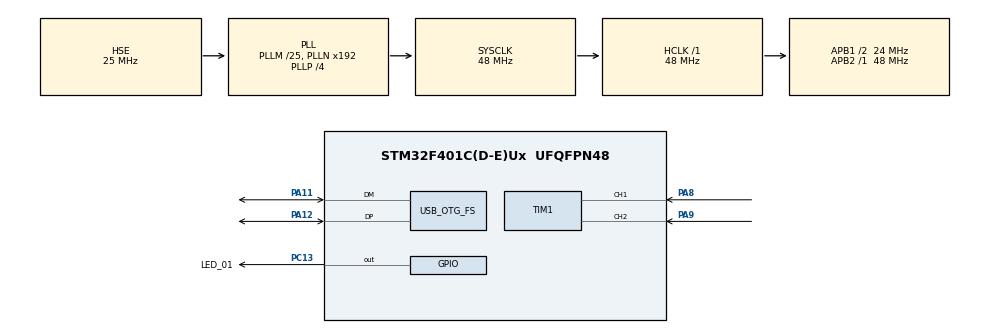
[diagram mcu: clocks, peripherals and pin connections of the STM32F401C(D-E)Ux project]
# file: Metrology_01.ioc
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Mcu.Family=STM32F4
Mcu.Name=STM32F401C(D-E)Ux
Mcu.Package=UFQFPN48
NVIC.OTG_FS_IRQn=true\:0\:0\:false\:false\:true\:false\:true
NVIC.PriorityGroup=NVIC_PRIORITYGROUP_4
PA11.Mode=Device_Only
PA11.Signal=USB_OTG_FS_DM
PA12.Mode=Device_Only
PA12.Signal=USB_OTG_FS_DP
PA13.Mode=Serial_Wire
PA13.Signal=SYS_JTMS-SWDIO
PA14.Mode=Serial_Wire
PA14.Signal=SYS_JTCK-SWCLK
PA8.Signal=S_TIM1_CH1
PA9.Signal=S_TIM1_CH2
PC13-ANTI_TAMP.GPIO_Label=LED_01
PC13-ANTI_TAMP.Signal=GPIO_Output
PH0\ -\ OSC_IN.Mode=HSE-External-Oscillator
PH0\ -\ OSC_IN.Signal=RCC_OSC_IN
PH1\ -\ OSC_OUT.Mode=HSE-External-Oscillator
PH1\ -\ OSC_OUT.Signal=RCC_OSC_OUT
ProjectManager.HeapSize=0x200
ProjectManager.StackSize=0x400
ProjectManager.TargetToolchain=MDK-ARM V5.27
RCC.48MHZClocksFreq_Value=48000000
RCC.AHBFreq_Value=48000000
RCC.APB1CLKDivider=RCC_HCLK_DIV2
RCC.APB1Freq_Value=24000000
RCC.APB1TimFreq_Value=48000000
RCC.APB2Freq_Value=48000000
RCC.APB2TimFreq_Value=48000000
RCC.CortexFreq_Value=48000000
RCC.HCLKFreq_Value=48000000
RCC.HSE_VALUE=25000000
RCC.HSI_VALUE=16000000
RCC.LSE_VALUE=32768
RCC.PLLM=25
RCC.PLLP=RCC_PLLP_DIV4
RCC.SYSCLKFreq_VALUE=48000000
RCC.SYSCLKSource=RCC_SYSCLKSOURCE_PLLCLK
RCC.VCOOutputFreq_Value=192000000
SH.S_TIM1_CH1.0=TIM1_CH1,Encoder_Interface
SH.S_TIM1_CH2.0=TIM1_CH2,Encoder_Interface
TIM1.AutoReloadPreload=TIM_AUTORELOAD_PRELOAD_ENABLE
USB_DEVICE.CLASS_NAME_FS=CUSTOM_HID
USB_DEVICE.USBD_CUSTOMHID_OUTREPORT_BUF_SIZE-CUSTOM_HID_FS=2
USB_DEVICE.USBD_CUSTOM_HID_REPORT_DESC_SIZE-CUSTOM_HID_FS=108
USB_DEVICE.VirtualMode-CUSTOM_HID_FS=CustomHid
USB_DEVICE.VirtualModeFS=Custom_Hid_FS
USB_OTG_FS.VirtualMode=Device_Only
VP_USB_DEVICE_VS_USB_DEVICE_CUSTOM_HID_FS.Mode=CUSTOM_HID_FS
board=custom

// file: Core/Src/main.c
/* USER CODE BEGIN Header */
/**
  ******************************************************************************
  * @file           : main.c
  * @brief          : Main program body
  ******************************************************************************
  * @attention
  *
  * <h2><center>&copy; Copyright (c) 2021 STMicroelectronics.
  * All rights reserved.</center></h2>
  *
  * This software component is licensed by ST under Ultimate Liberty license
  * SLA0044, the "License"; You may not use this file except in compliance with
  * the License. You may obtain a copy of the License at:
  *                             www.st.com/SLA0044
  *
  ******************************************************************************
  */
/* USER CODE END Header */
#include "main.h"
#include "usb_device.h"

/* USER CODE BEGIN Includes */
#include "usbd_customhid.h"
/* USER CODE END Includes */

TIM_HandleTypeDef htim1;

/* USER CODE BEGIN PV */
uint8_t dataToSend[5] =  {7, 'S', 'n', 'd', '_'};
uint8_t dataToSend1[5] =  {5, 'S', 'n', 'd', '_'};
uint8_t dataToSend2[5] =  {6, 1, 2, 4, 8};
uint32_t cnt = 0;
extern uint8_t send_data;
/* USER CODE END PV */

void SystemClock_Config(void);
static void MX_GPIO_Init(void);
static void MX_TIM1_Init(void);
/* USER CODE BEGIN PFP */
extern USBD_HandleTypeDef hUsbDeviceFS;
/* USER CODE END PFP */

int main(void)
{

  /* MCU Configuration--------------------------------------------------------*/

  /* Reset of all peripherals, Initializes the Flash interface and the Systick. */
  HAL_Init();

  /* Configure the system clock */
  SystemClock_Config();

  /* Initialize all configured peripherals */
  MX_GPIO_Init();
  MX_USB_DEVICE_Init();
  MX_TIM1_Init();

  /* Infinite loop */
  /* USER CODE BEGIN WHILE */
  while (1)
  {
		if(send_data == 0){
			send_data = 0;
		cnt += 1111;
		dataToSend1[1] = (cnt & 0x01);
		//dataToSend1[4] = cnt;
		//HAL_Delay(100);
		//USBD_CUSTOM_HID_SendReport(&hUsbDeviceFS, dataToSend1, 5);
		HAL_Delay(100);
		dataToSend2[1] = 0;
		dataToSend2[4] = (cnt & 0xff);
		dataToSend2[3] = ((cnt >> 8) & 0xff);
		dataToSend2[2] = ((cnt >> 16) & 0xff);
		USBD_CUSTOM_HID_SendReport(&hUsbDeviceFS, dataToSend2, 5);
		}
    /* USER CODE END WHILE */

  }
}

void SystemClock_Config(void)
{
  RCC_OscInitTypeDef RCC_OscInitStruct = {0};
  RCC_ClkInitTypeDef RCC_ClkInitStruct = {0};

  /** Configure the main internal regulator output voltage
  */
  __HAL_RCC_PWR_CLK_ENABLE();
  __HAL_PWR_VOLTAGESCALING_CONFIG(PWR_REGULATOR_VOLTAGE_SCALE2);
  /** Initializes the RCC Oscillators according to the specified parameters
  * in the RCC_OscInitTypeDef structure.
  */
  RCC_OscInitStruct.OscillatorType = RCC_OSCILLATORTYPE_HSE;
  RCC_OscInitStruct.HSEState = RCC_HSE_ON;
  RCC_OscInitStruct.PLL.PLLState = RCC_PLL_ON;
  RCC_OscInitStruct.PLL.PLLSource = RCC_PLLSOURCE_HSE;
  RCC_OscInitStruct.PLL.PLLM = 25;
  RCC_OscInitStruct.PLL.PLLN = 192;
  RCC_OscInitStruct.PLL.PLLP = RCC_PLLP_DIV4;
  RCC_OscInitStruct.PLL.PLLQ = 4;
  if (HAL_RCC_OscConfig(&RCC_OscInitStruct) != HAL_OK)
  {
    Error_Handler();
  }
  /** Initializes the CPU, AHB and APB buses clocks
  */
  RCC_ClkInitStruct.ClockType = RCC_CLOCKTYPE_HCLK|RCC_CLOCKTYPE_SYSCLK
                              |RCC_CLOCKTYPE_PCLK1|RCC_CLOCKTYPE_PCLK2;
  RCC_ClkInitStruct.SYSCLKSource = RCC_SYSCLKSOURCE_PLLCLK;
  RCC_ClkInitStruct.AHBCLKDivider = RCC_SYSCLK_DIV1;
  RCC_ClkInitStruct.APB1CLKDivider = RCC_HCLK_DIV2;
  RCC_ClkInitStruct.APB2CLKDivider = RCC_HCLK_DIV1;

  if (HAL_RCC_ClockConfig(&RCC_ClkInitStruct, FLASH_LATENCY_1) != HAL_OK)
  {
    Error_Handler();
  }
}

static void MX_TIM1_Init(void)
{

  TIM_Encoder_InitTypeDef sConfig = {0};
  TIM_MasterConfigTypeDef sMasterConfig = {0};

  htim1.Instance = TIM1;
  htim1.Init.Prescaler = 0;
  htim1.Init.CounterMode = TIM_COUNTERMODE_UP;
  htim1.Init.Period = 65535;
  htim1.Init.ClockDivision = TIM_CLOCKDIVISION_DIV1;
  htim1.Init.RepetitionCounter = 0;
  htim1.Init.AutoReloadPreload = TIM_AUTORELOAD_PRELOAD_ENABLE;
  sConfig.EncoderMode = TIM_ENCODERMODE_TI1;
  sConfig.IC1Polarity = TIM_ICPOLARITY_RISING;
  sConfig.IC1Selection = TIM_ICSELECTION_DIRECTTI;
  sConfig.IC1Prescaler = TIM_ICPSC_DIV1;
  sConfig.IC1Filter = 0;
  sConfig.IC2Polarity = TIM_ICPOLARITY_RISING;
  sConfig.IC2Selection = TIM_ICSELECTION_DIRECTTI;
  sConfig.IC2Prescaler = TIM_ICPSC_DIV1;
  sConfig.IC2Filter = 0;
  if (HAL_TIM_Encoder_Init(&htim1, &sConfig) != HAL_OK)
  {
    Error_Handler();
  }
  sMasterConfig.MasterOutputTrigger = TIM_TRGO_RESET;
  sMasterConfig.MasterSlaveMode = TIM_MASTERSLAVEMODE_DISABLE;
  if (HAL_TIMEx_MasterConfigSynchronization(&htim1, &sMasterConfig) != HAL_OK)
  {
    Error_Handler();
  }

}

static void MX_GPIO_Init(void)
{
  GPIO_InitTypeDef GPIO_InitStruct = {0};

  /* GPIO Ports Clock Enable */
  __HAL_RCC_GPIOC_CLK_ENABLE();
  __HAL_RCC_GPIOH_CLK_ENABLE();
  __HAL_RCC_GPIOA_CLK_ENABLE();

  /*Configure GPIO pin Output Level */
  HAL_GPIO_WritePin(LED_01_GPIO_Port, LED_01_Pin, GPIO_PIN_RESET);

  /*Configure GPIO pin : LED_01_Pin */
  GPIO_InitStruct.Pin = LED_01_Pin;
  GPIO_InitStruct.Mode = GPIO_MODE_OUTPUT_PP;
  GPIO_InitStruct.Pull = GPIO_NOPULL;
  GPIO_InitStruct.Speed = GPIO_SPEED_FREQ_LOW;
  HAL_GPIO_Init(LED_01_GPIO_Port, &GPIO_InitStruct);

}

void Error_Handler(void)
{
  __disable_irq();
  while (1)
  {
  }
}

/************************ (C) COPYRIGHT STMicroelectronics *****END OF FILE****/
